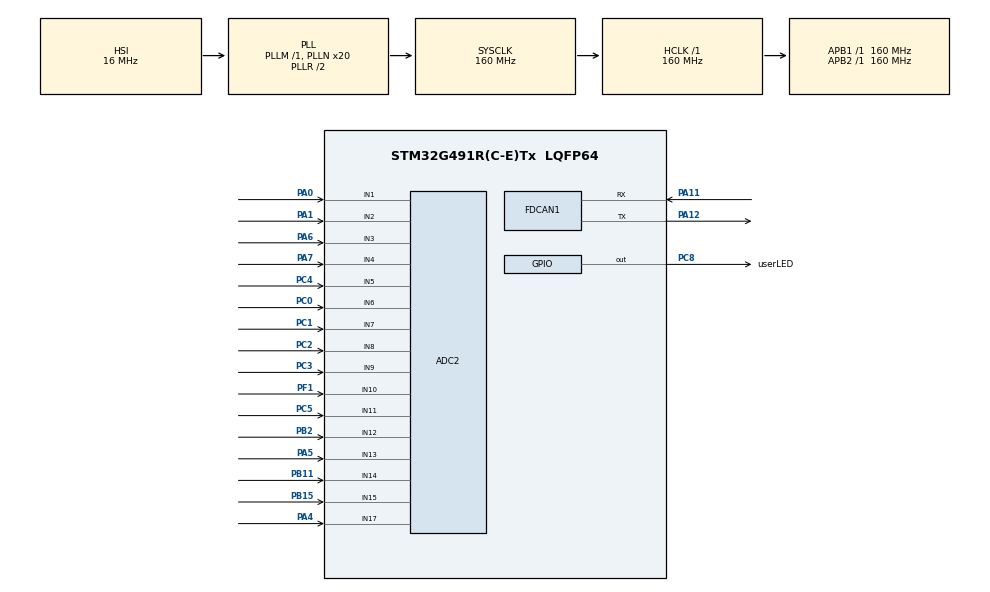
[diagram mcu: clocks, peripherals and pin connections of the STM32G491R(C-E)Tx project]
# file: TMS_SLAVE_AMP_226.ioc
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ADC2.Channel-16\#ChannelRegularConversion=ADC_CHANNEL_1
ADC2.Channel-24\#ChannelRegularConversion=ADC_CHANNEL_2
ADC2.Channel-25\#ChannelRegularConversion=ADC_CHANNEL_3
ADC2.Channel-31\#ChannelRegularConversion=ADC_CHANNEL_4
ADC2.Channel-32\#ChannelRegularConversion=ADC_CHANNEL_5
ADC2.Channel-33\#ChannelRegularConversion=ADC_CHANNEL_6
ADC2.Channel-34\#ChannelRegularConversion=ADC_CHANNEL_7
ADC2.Channel-35\#ChannelRegularConversion=ADC_CHANNEL_8
ADC2.Channel-36\#ChannelRegularConversion=ADC_CHANNEL_9
ADC2.Channel-37\#ChannelRegularConversion=ADC_CHANNEL_10
ADC2.Channel-38\#ChannelRegularConversion=ADC_CHANNEL_11
ADC2.Channel-39\#ChannelRegularConversion=ADC_CHANNEL_12
ADC2.Channel-40\#ChannelRegularConversion=ADC_CHANNEL_13
ADC2.Channel-41\#ChannelRegularConversion=ADC_CHANNEL_14
ADC2.Channel-42\#ChannelRegularConversion=ADC_CHANNEL_15
ADC2.Channel-43\#ChannelRegularConversion=ADC_CHANNEL_17
ADC2.ClockPrescaler=ADC_CLOCK_ASYNC_DIV8
ADC2.ContinuousConvMode=ENABLE
ADC2.DMAContinuousRequests=ENABLE
ADC2.NbrOfConversion=16
ADC2.NbrOfConversionFlag=1
ADC2.OffsetNumber-16\#ChannelRegularConversion=ADC_OFFSET_NONE
ADC2.OffsetNumber-24\#ChannelRegularConversion=ADC_OFFSET_NONE
ADC2.OffsetNumber-25\#ChannelRegularConversion=ADC_OFFSET_NONE
ADC2.OffsetNumber-31\#ChannelRegularConversion=ADC_OFFSET_NONE
ADC2.OffsetNumber-32\#ChannelRegularConversion=ADC_OFFSET_NONE
ADC2.OffsetNumber-33\#ChannelRegularConversion=ADC_OFFSET_NONE
ADC2.OffsetNumber-34\#ChannelRegularConversion=ADC_OFFSET_NONE
ADC2.OffsetNumber-35\#ChannelRegularConversion=ADC_OFFSET_NONE
ADC2.OffsetNumber-36\#ChannelRegularConversion=ADC_OFFSET_NONE
ADC2.OffsetNumber-37\#ChannelRegularConversion=ADC_OFFSET_NONE
ADC2.OffsetNumber-38\#ChannelRegularConversion=ADC_OFFSET_NONE
ADC2.OffsetNumber-39\#ChannelRegularConversion=ADC_OFFSET_NONE
ADC2.OffsetNumber-40\#ChannelRegularConversion=ADC_OFFSET_NONE
ADC2.OffsetNumber-41\#ChannelRegularConversion=ADC_OFFSET_NONE
ADC2.OffsetNumber-42\#ChannelRegularConversion=ADC_OFFSET_NONE
ADC2.OffsetNumber-43\#ChannelRegularConversion=ADC_OFFSET_NONE
ADC2.Overrun=ADC_OVR_DATA_OVERWRITTEN
ADC2.Rank-16\#ChannelRegularConversion=1
ADC2.Rank-24\#ChannelRegularConversion=2
ADC2.Rank-25\#ChannelRegularConversion=3
ADC2.Rank-31\#ChannelRegularConversion=4
ADC2.Rank-32\#ChannelRegularConversion=5
ADC2.Rank-33\#ChannelRegularConversion=6
ADC2.Rank-34\#ChannelRegularConversion=7
ADC2.Rank-35\#ChannelRegularConversion=8
ADC2.Rank-36\#ChannelRegularConversion=9
ADC2.Rank-37\#ChannelRegularConversion=10
ADC2.Rank-38\#ChannelRegularConversion=11
ADC2.Rank-39\#ChannelRegularConversion=12
ADC2.Rank-40\#ChannelRegularConversion=13
ADC2.Rank-41\#ChannelRegularConversion=14
ADC2.Rank-42\#ChannelRegularConversion=15
ADC2.Rank-43\#ChannelRegularConversion=16
ADC2.SamplingTime-16\#ChannelRegularConversion=ADC_SAMPLETIME_247CYCLES_5
ADC2.SamplingTime-24\#ChannelRegularConversion=ADC_SAMPLETIME_247CYCLES_5
ADC2.SamplingTime-25\#ChannelRegularConversion=ADC_SAMPLETIME_247CYCLES_5
ADC2.SamplingTime-31\#ChannelRegularConversion=ADC_SAMPLETIME_247CYCLES_5
ADC2.SamplingTime-32\#ChannelRegularConversion=ADC_SAMPLETIME_247CYCLES_5
ADC2.SamplingTime-33\#ChannelRegularConversion=ADC_SAMPLETIME_247CYCLES_5
ADC2.SamplingTime-34\#ChannelRegularConversion=ADC_SAMPLETIME_247CYCLES_5
ADC2.SamplingTime-35\#ChannelRegularConversion=ADC_SAMPLETIME_247CYCLES_5
ADC2.SamplingTime-36\#ChannelRegularConversion=ADC_SAMPLETIME_247CYCLES_5
ADC2.SamplingTime-37\#ChannelRegularConversion=ADC_SAMPLETIME_247CYCLES_5
ADC2.SamplingTime-38\#ChannelRegularConversion=ADC_SAMPLETIME_247CYCLES_5
ADC2.SamplingTime-39\#ChannelRegularConversion=ADC_SAMPLETIME_247CYCLES_5
ADC2.SamplingTime-40\#ChannelRegularConversion=ADC_SAMPLETIME_247CYCLES_5
ADC2.SamplingTime-41\#ChannelRegularConversion=ADC_SAMPLETIME_247CYCLES_5
ADC2.SamplingTime-42\#ChannelRegularConversion=ADC_SAMPLETIME_247CYCLES_5
ADC2.SamplingTime-43\#ChannelRegularConversion=ADC_SAMPLETIME_247CYCLES_5
Dma.ADC2.0.Direction=DMA_PERIPH_TO_MEMORY
Dma.ADC2.0.EventEnable=DISABLE
Dma.ADC2.0.Instance=DMA1_Channel1
Dma.ADC2.0.MemDataAlignment=DMA_MDATAALIGN_HALFWORD
Dma.ADC2.0.MemInc=DMA_MINC_ENABLE
Dma.ADC2.0.Mode=DMA_CIRCULAR
Dma.ADC2.0.PeriphDataAlignment=DMA_PDATAALIGN_HALFWORD
Dma.ADC2.0.PeriphInc=DMA_PINC_DISABLE
Dma.ADC2.0.Polarity=HAL_DMAMUX_REQ_GEN_RISING
Dma.ADC2.0.Priority=DMA_PRIORITY_LOW
Dma.ADC2.0.RequestNumber=1
Dma.ADC2.0.SignalID=NONE
Dma.ADC2.0.SyncEnable=DISABLE
Dma.ADC2.0.SyncPolarity=HAL_DMAMUX_SYNC_NO_EVENT
Dma.ADC2.0.SyncRequestNumber=1
Dma.ADC2.0.SyncSignalID=NONE
Dma.Request0=ADC2
FDCAN1.CalculateBaudRateNominal=470588
FDCAN1.CalculateTimeBitNominal=2125
FDCAN1.CalculateTimeQuantumNominal=62.5
FDCAN1.NominalPrescaler=10
FDCAN1.NominalTimeSeg1=22
FDCAN1.NominalTimeSeg2=11
FREERTOS.Tasks01=xReadTemp,24,128,xReadTempFunction,Default,NULL,Dynamic,NULL,NULL;xSendCAN,32,128,xSendCANFunction,Default,NULL,Dynamic,NULL,NULL
Mcu.Family=STM32G4
Mcu.Name=STM32G491R(C-E)Tx
Mcu.Package=LQFP64
NVIC.DMA1_Channel1_IRQn=true\:5\:0\:false\:false\:true\:true\:false\:true\:true
NVIC.PriorityGroup=NVIC_PRIORITYGROUP_4
NVIC.TIM20_UP_IRQn=true\:15\:0\:false\:false\:true\:false\:false\:true\:true
NVIC.TimeBase=TIM20_UP_IRQn
NVIC.TimeBaseIP=TIM20
PA0.Mode=IN1-Single-Ended
PA0.Signal=ADC2_IN1
PA1.Mode=IN2-Single-Ended
PA1.Signal=ADC2_IN2
PA11.Mode=FDCAN_Activate
PA11.Signal=FDCAN1_RX
PA12.Mode=FDCAN_Activate
PA12.Signal=FDCAN1_TX
PA13.GPIO_Label=T_SWDIO
PA13.Mode=Serial_Wire
PA13.Signal=SYS_JTMS-SWDIO
PA14.GPIO_Label=T_SWCLK
PA14.Mode=Serial_Wire
PA14.Signal=SYS_JTCK-SWCLK
PA4.Mode=IN17-Single-Ended
PA4.Signal=ADC2_IN17
PA5.Mode=IN13-Single-Ended
PA5.Signal=ADC2_IN13
PA6.Mode=IN3-Single-Ended
PA6.Signal=ADC2_IN3
PA7.Mode=IN4-Single-Ended
PA7.Signal=ADC2_IN4
PB11.Mode=IN14-Single-Ended
PB11.Signal=ADC2_IN14
PB15.Mode=IN15-Single-Ended
PB15.Signal=ADC2_IN15
PB2.Mode=IN12-Single-Ended
PB2.Signal=ADC2_IN12
PC0.Mode=IN6-Single-Ended
PC0.Signal=ADC2_IN6
PC1.Mode=IN7-Single-Ended
PC1.Signal=ADC2_IN7
PC2.Mode=IN8-Single-Ended
PC2.Signal=ADC2_IN8
PC3.Mode=IN9-Single-Ended
PC3.Signal=ADC2_IN9
PC4.Mode=IN5-Single-Ended
PC4.Signal=ADC2_IN5
PC5.Mode=IN11-Single-Ended
PC5.Signal=ADC2_IN11
PC8.GPIO_Label=userLED
PC8.Signal=GPIO_Output
PF1-OSC_OUT.Mode=IN10-Single-Ended
PF1-OSC_OUT.Signal=ADC2_IN10
ProjectManager.HeapSize=0x200
ProjectManager.StackSize=0x400
ProjectManager.TargetToolchain=STM32CubeIDE
RCC.ADC12Freq_Value=160000000
RCC.ADC345Freq_Value=160000000
RCC.AHBFreq_Value=160000000
RCC.APB1Freq_Value=160000000
RCC.APB1TimFreq_Value=160000000
RCC.APB2Freq_Value=160000000
RCC.APB2TimFreq_Value=160000000
RCC.CortexFreq_Value=160000000
RCC.EXTERNAL_CLOCK_VALUE=12288000
RCC.HCLKFreq_Value=160000000
RCC.HSE_VALUE=24000000
RCC.HSI48_VALUE=48000000
RCC.HSI_VALUE=16000000
RCC.LSE_VALUE=32768
RCC.PLLN=20
RCC.RTCClockSelection=RCC_RTCCLKSOURCE_LSE
RCC.SYSCLKFreq_VALUE=160000000
RCC.SYSCLKSource=RCC_SYSCLKSOURCE_PLLCLK
RCC.USBFreq_Value=48000000
RCC.VCOOutputFreq_Value=320000000
VP_FREERTOS_VS_CMSIS_V2.Mode=CMSIS_V2
VP_SYS_VS_DBSignals.Mode=DisableDeadBatterySignals
VP_SYS_VS_tim20.Mode=TIM20
VREF+.Signal=VREFBUF_OUT
board=NUCLEO-G491RE

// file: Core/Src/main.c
/* USER CODE BEGIN Header */
/**
  ******************************************************************************
  * @file           : main.c
  * @brief          : Main program body
  ******************************************************************************
  * @attention
  *
  * Copyright (c) 2025 STMicroelectronics.
  * All rights reserved.
  *
  * This software is licensed under terms that can be found in the LICENSE file
  * in the root directory of this software component.
  * If no LICENSE file comes with this software, it is provided AS-IS.
  *
  ******************************************************************************
  */
/* USER CODE END Header */
#include "main.h"
#include "cmsis_os.h"

/* USER CODE BEGIN Includes */
#include "adc.h"
#include "can.h"
#include <stdbool.h>
/* USER CODE END Includes */

ADC_HandleTypeDef hadc2;
DMA_HandleTypeDef hdma_adc2;

FDCAN_HandleTypeDef hfdcan1;

/* Definitions for xReadTemp */
osThreadId_t xReadTempHandle;
const osThreadAttr_t xReadTemp_attributes = {
  .name = "xReadTemp",
  .priority = (osPriority_t) osPriorityNormal,
  .stack_size = 128 * 4
};
/* Definitions for xSendCAN */
osThreadId_t xSendCANHandle;
const osThreadAttr_t xSendCAN_attributes = {
  .name = "xSendCAN",
  .priority = (osPriority_t) osPriorityAboveNormal,
  .stack_size = 128 * 4
};
/* USER CODE BEGIN PV */
uint16_t rawAdcBuffer[numberOfThermistors];
float tempBuffer[numberOfThermistors], voltageBuffer[numberOfThermistors];
extern uint16_t filteredAdcBuffer[numberOfThermistors];

extern uint8_t FDCAN1TxData[8];
extern FDCAN_TxHeaderTypeDef FDCAN1TxHeader;

int thermistorFault = 0;
thermStatus readStatus = 0;
uint16_t medianADC = 0;
/* USER CODE END PV */

void SystemClock_Config(void);
static void MX_GPIO_Init(void);
static void MX_DMA_Init(void);
static void MX_FDCAN1_Init(void);
static void MX_ADC2_Init(void);
void xReadTempFunction(void *argument);
void xSendCANFunction(void *argument);

/* USER CODE BEGIN PFP */
//void HAL_ADC_ConvCpltCallback(ADC_HandleTypeDef *hadc);
/* USER CODE END PFP */

int main(void)
{

  /* MCU Configuration--------------------------------------------------------*/

  /* Reset of all peripherals, Initializes the Flash interface and the Systick. */
  HAL_Init();

  /* Configure the system clock */
  SystemClock_Config();

  /* Initialize all configured peripherals */
  MX_GPIO_Init();
  MX_DMA_Init();
  MX_FDCAN1_Init();
  MX_ADC2_Init();

  /* Init scheduler */
  osKernelInitialize();

  /* Create the thread(s) */
  /* creation of xReadTemp */
  xReadTempHandle = osThreadNew(xReadTempFunction, NULL, &xReadTemp_attributes);

  /* creation of xSendCAN */
  xSendCANHandle = osThreadNew(xSendCANFunction, NULL, &xSendCAN_attributes);

  /* USER CODE BEGIN RTOS_THREADS */
  /* add threads, ... */
  HAL_ADCEx_Calibration_Start(&hadc2, ADC_SINGLE_ENDED);
  HAL_ADC_Start_DMA(&hadc2, (uint32_t*)rawAdcBuffer, numberOfThermistors);
  /* USER CODE END RTOS_THREADS */

  /* Start scheduler */
  osKernelStart();

  /* We should never get here as control is now taken by the scheduler */

  /* Infinite loop */
  while (1)
  {

  }
}

void SystemClock_Config(void)
{
  RCC_OscInitTypeDef RCC_OscInitStruct = {0};
  RCC_ClkInitTypeDef RCC_ClkInitStruct = {0};

  /** Configure the main internal regulator output voltage
  */
  HAL_PWREx_ControlVoltageScaling(PWR_REGULATOR_VOLTAGE_SCALE1_BOOST);

  /** Initializes the RCC Oscillators according to the specified parameters
  * in the RCC_OscInitTypeDef structure.
  */
  RCC_OscInitStruct.OscillatorType = RCC_OSCILLATORTYPE_HSI;
  RCC_OscInitStruct.HSIState = RCC_HSI_ON;
  RCC_OscInitStruct.HSICalibrationValue = RCC_HSICALIBRATION_DEFAULT;
  RCC_OscInitStruct.PLL.PLLState = RCC_PLL_ON;
  RCC_OscInitStruct.PLL.PLLSource = RCC_PLLSOURCE_HSI;
  RCC_OscInitStruct.PLL.PLLM = RCC_PLLM_DIV1;
  RCC_OscInitStruct.PLL.PLLN = 20;
  RCC_OscInitStruct.PLL.PLLP = RCC_PLLP_DIV2;
  RCC_OscInitStruct.PLL.PLLQ = RCC_PLLQ_DIV2;
  RCC_OscInitStruct.PLL.PLLR = RCC_PLLR_DIV2;
  if (HAL_RCC_OscConfig(&RCC_OscInitStruct) != HAL_OK)
  {
    Error_Handler();
  }

  /** Initializes the CPU, AHB and APB buses clocks
  */
  RCC_ClkInitStruct.ClockType = RCC_CLOCKTYPE_HCLK|RCC_CLOCKTYPE_SYSCLK
                              |RCC_CLOCKTYPE_PCLK1|RCC_CLOCKTYPE_PCLK2;
  RCC_ClkInitStruct.SYSCLKSource = RCC_SYSCLKSOURCE_PLLCLK;
  RCC_ClkInitStruct.AHBCLKDivider = RCC_SYSCLK_DIV1;
  RCC_ClkInitStruct.APB1CLKDivider = RCC_HCLK_DIV1;
  RCC_ClkInitStruct.APB2CLKDivider = RCC_HCLK_DIV1;

  if (HAL_RCC_ClockConfig(&RCC_ClkInitStruct, FLASH_LATENCY_4) != HAL_OK)
  {
    Error_Handler();
  }
}

static void MX_ADC2_Init(void)
{

  ADC_ChannelConfTypeDef sConfig = {0};

  /** Common config
  */
  hadc2.Instance = ADC2;
  hadc2.Init.ClockPrescaler = ADC_CLOCK_ASYNC_DIV8;
  hadc2.Init.Resolution = ADC_RESOLUTION_12B;
  hadc2.Init.DataAlign = ADC_DATAALIGN_RIGHT;
  hadc2.Init.GainCompensation = 0;
  hadc2.Init.ScanConvMode = ADC_SCAN_ENABLE;
  hadc2.Init.EOCSelection = ADC_EOC_SINGLE_CONV;
  hadc2.Init.LowPowerAutoWait = DISABLE;
  hadc2.Init.ContinuousConvMode = ENABLE;
  hadc2.Init.NbrOfConversion = 16;
  hadc2.Init.DiscontinuousConvMode = DISABLE;
  hadc2.Init.ExternalTrigConv = ADC_SOFTWARE_START;
  hadc2.Init.ExternalTrigConvEdge = ADC_EXTERNALTRIGCONVEDGE_NONE;
  hadc2.Init.DMAContinuousRequests = ENABLE;
  hadc2.Init.Overrun = ADC_OVR_DATA_OVERWRITTEN;
  hadc2.Init.OversamplingMode = DISABLE;
  if (HAL_ADC_Init(&hadc2) != HAL_OK)
  {
    Error_Handler();
  }

  /** Configure Regular Channel
  */
  sConfig.Channel = ADC_CHANNEL_1;
  sConfig.Rank = ADC_REGULAR_RANK_1;
  sConfig.SamplingTime = ADC_SAMPLETIME_247CYCLES_5;
  sConfig.SingleDiff = ADC_SINGLE_ENDED;
  sConfig.OffsetNumber = ADC_OFFSET_NONE;
  sConfig.Offset = 0;
  if (HAL_ADC_ConfigChannel(&hadc2, &sConfig) != HAL_OK)
  {
    Error_Handler();
  }

  /** Configure Regular Channel
  */
  sConfig.Channel = ADC_CHANNEL_2;
  sConfig.Rank = ADC_REGULAR_RANK_2;
  if (HAL_ADC_ConfigChannel(&hadc2, &sConfig) != HAL_OK)
  {
    Error_Handler();
  }

  /** Configure Regular Channel
  */
  sConfig.Channel = ADC_CHANNEL_3;
  sConfig.Rank = ADC_REGULAR_RANK_3;
  if (HAL_ADC_ConfigChannel(&hadc2, &sConfig) != HAL_OK)
  {
    Error_Handler();
  }

  /** Configure Regular Channel
  */
  sConfig.Channel = ADC_CHANNEL_4;
  sConfig.Rank = ADC_REGULAR_RANK_4;
  if (HAL_ADC_ConfigChannel(&hadc2, &sConfig) != HAL_OK)
  {
    Error_Handler();
  }

  /** Configure Regular Channel
  */
  sConfig.Channel = ADC_CHANNEL_5;
  sConfig.Rank = ADC_REGULAR_RANK_5;
  if (HAL_ADC_ConfigChannel(&hadc2, &sConfig) != HAL_OK)
  {
    Error_Handler();
  }

  /** Configure Regular Channel
  */
  sConfig.Channel = ADC_CHANNEL_6;
  sConfig.Rank = ADC_REGULAR_RANK_6;
  if (HAL_ADC_ConfigChannel(&hadc2, &sConfig) != HAL_OK)
  {
    Error_Handler();
  }

  /** Configure Regular Channel
  */
  sConfig.Channel = ADC_CHANNEL_7;
  sConfig.Rank = ADC_REGULAR_RANK_7;
  if (HAL_ADC_ConfigChannel(&hadc2, &sConfig) != HAL_OK)
  {
    Error_Handler();
  }

  /** Configure Regular Channel
  */
  sConfig.Channel = ADC_CHANNEL_8;
  sConfig.Rank = ADC_REGULAR_RANK_8;
  if (HAL_ADC_ConfigChannel(&hadc2, &sConfig) != HAL_OK)
  {
    Error_Handler();
  }

  /** Configure Regular Channel
  */
  sConfig.Channel = ADC_CHANNEL_9;
  sConfig.Rank = ADC_REGULAR_RANK_9;
  if (HAL_ADC_ConfigChannel(&hadc2, &sConfig) != HAL_OK)
  {
    Error_Handler();
  }

  /** Configure Regular Channel
  */
  sConfig.Channel = ADC_CHANNEL_10;
  sConfig.Rank = ADC_REGULAR_RANK_10;
  if (HAL_ADC_ConfigChannel(&hadc2, &sConfig) != HAL_OK)
  {
    Error_Handler();
  }

  /** Configure Regular Channel
  */
  sConfig.Channel = ADC_CHANNEL_11;
  sConfig.Rank = ADC_REGULAR_RANK_11;
  if (HAL_ADC_ConfigChannel(&hadc2, &sConfig) != HAL_OK)
  {
    Error_Handler();
  }

  /** Configure Regular Channel
  */
  sConfig.Channel = ADC_CHANNEL_12;
  sConfig.Rank = ADC_REGULAR_RANK_12;
  if (HAL_ADC_ConfigChannel(&hadc2, &sConfig) != HAL_OK)
  {
    Error_Handler();
  }

  /** Configure Regular Channel
  */
  sConfig.Channel = ADC_CHANNEL_13;
  sConfig.Rank = ADC_REGULAR_RANK_13;
  if (HAL_ADC_ConfigChannel(&hadc2, &sConfig) != HAL_OK)
  {
    Error_Handler();
  }

  /** Configure Regular Channel
  */
  sConfig.Channel = ADC_CHANNEL_14;
  sConfig.Rank = ADC_REGULAR_RANK_14;
  if (HAL_ADC_ConfigChannel(&hadc2, &sConfig) != HAL_OK)
  {
    Error_Handler();
  }

  /** Configure Regular Channel
  */
  sConfig.Channel = ADC_CHANNEL_15;
  sConfig.Rank = ADC_REGULAR_RANK_15;
  if (HAL_ADC_ConfigChannel(&hadc2, &sConfig) != HAL_OK)
  {
    Error_Handler();
  }

  /** Configure Regular Channel
  */
  sConfig.Channel = ADC_CHANNEL_17;
  sConfig.Rank = ADC_REGULAR_RANK_16;
  if (HAL_ADC_ConfigChannel(&hadc2, &sConfig) != HAL_OK)
  {
    Error_Handler();
  }

}

static void MX_FDCAN1_Init(void)
{

  hfdcan1.Instance = FDCAN1;
  hfdcan1.Init.ClockDivider = FDCAN_CLOCK_DIV1;
  hfdcan1.Init.FrameFormat = FDCAN_FRAME_CLASSIC;
  hfdcan1.Init.Mode = FDCAN_MODE_NORMAL;
  hfdcan1.Init.AutoRetransmission = DISABLE;
  hfdcan1.Init.TransmitPause = DISABLE;
  hfdcan1.Init.ProtocolException = DISABLE;
  hfdcan1.Init.NominalPrescaler = 10;
  hfdcan1.Init.NominalSyncJumpWidth = 1;
  hfdcan1.Init.NominalTimeSeg1 = 22;
  hfdcan1.Init.NominalTimeSeg2 = 11;
  hfdcan1.Init.DataPrescaler = 1;
  hfdcan1.Init.DataSyncJumpWidth = 1;
  hfdcan1.Init.DataTimeSeg1 = 1;
  hfdcan1.Init.DataTimeSeg2 = 1;
  hfdcan1.Init.StdFiltersNbr = 0;
  hfdcan1.Init.ExtFiltersNbr = 0;
  hfdcan1.Init.TxFifoQueueMode = FDCAN_TX_FIFO_OPERATION;
  if (HAL_FDCAN_Init(&hfdcan1) != HAL_OK)
  {
    Error_Handler();
  }
  /* USER CODE BEGIN FDCAN1_Init 2 */
  HAL_FDCAN_ActivateNotification(&hfdcan1, FDCAN_IT_RX_FIFO0_NEW_MESSAGE, 0);
  HAL_FDCAN_Start(&hfdcan1);

  FDCAN1TxHeader.FDFormat = FDCAN_CLASSIC_CAN;
  FDCAN1TxHeader.IdType = FDCAN_STANDARD_ID;
  FDCAN1TxHeader.BitRateSwitch = FDCAN_BRS_OFF;
  /* USER CODE END FDCAN1_Init 2 */

}

static void MX_DMA_Init(void)
{

  /* DMA controller clock enable */
  __HAL_RCC_DMAMUX1_CLK_ENABLE();
  __HAL_RCC_DMA1_CLK_ENABLE();

  /* DMA interrupt init */
  /* DMA1_Channel1_IRQn interrupt configuration */
  HAL_NVIC_SetPriority(DMA1_Channel1_IRQn, 5, 0);
  HAL_NVIC_EnableIRQ(DMA1_Channel1_IRQn);

}

static void MX_GPIO_Init(void)
{
  GPIO_InitTypeDef GPIO_InitStruct = {0};

  /* GPIO Ports Clock Enable */
  __HAL_RCC_GPIOF_CLK_ENABLE();
  __HAL_RCC_GPIOC_CLK_ENABLE();
  __HAL_RCC_GPIOA_CLK_ENABLE();
  __HAL_RCC_GPIOB_CLK_ENABLE();

  /*Configure GPIO pin Output Level */
  HAL_GPIO_WritePin(userLED_GPIO_Port, userLED_Pin, GPIO_PIN_RESET);

  /*Configure GPIO pin : userLED_Pin */
  GPIO_InitStruct.Pin = userLED_Pin;
  GPIO_InitStruct.Mode = GPIO_MODE_OUTPUT_PP;
  GPIO_InitStruct.Pull = GPIO_NOPULL;
  GPIO_InitStruct.Speed = GPIO_SPEED_FREQ_LOW;
  HAL_GPIO_Init(userLED_GPIO_Port, &GPIO_InitStruct);

}

void xReadTempFunction(void *argument)
{
  /* USER CODE BEGIN 5 */
//	static bool filtersInitialized = false;
	 xReadTempHandle = xTaskGetCurrentTaskHandle();
  /* Infinite loop */
  for(;;)
  {
//	  if(!filtersInitialized)
//	  {
		  initTemperatureFilters(rawAdcBuffer);
//		  filtersInitialized = true;
//	  }

	  for(int i = 0; i < numberOfThermistors; i++){

		  medianADC = applyMedianFilter(rawAdcBuffer[i], i);
		  filteredAdcBuffer[i] = applyIIRFilter(medianADC, i);
//		  readStatus = checkThermistorConnection(filteredAdcBuffer[i]);

//		  if(readStatus == OK){
			  tempBuffer[i] = convertVoltageToTemperature(convertBitsToVoltage(filteredAdcBuffer[i]));

//		  }
//		  else{
//			  thermistorFault = 1;
//			  sendReadingErrorInfoIntoCAN();
//			  Error_Handler();
//		  }
	  }
	  osDelay(1);
  }
  /* USER CODE END 5 */
}

void xSendCANFunction(void *argument)
{
  /* USER CODE BEGIN xSendCANFunction */
  /* Infinite loop */
  for(;;)
  {
#ifdef slave1
//	  sendTemperatureToMaster(tempBuffer, idSlave1Burst0);
#endif
#ifdef slave2
	  sendTemperatureToMaster(tempBuffer, idSlave2Burst0);
#endif
#ifdef slave3
	  sendTemperatureToMaster(tempBuffer, idSlave3Burst0);
#endif
#ifdef slave4
	  sendTemperatureToMaster(tempBuffer, idSlave4Burst0);
#endif
	  HAL_GPIO_TogglePin(GPIOC, GPIO_PIN_8);

    osDelay(100);
  }
  /* USER CODE END xSendCANFunction */
}

void HAL_TIM_PeriodElapsedCallback(TIM_HandleTypeDef *htim)
{
  if (htim->Instance == TIM20)
  {
    HAL_IncTick();
  }
}

void Error_Handler(void)
{
  /* USER CODE BEGIN Error_Handler_Debug */
	HAL_GPIO_WritePin(GPIOC, GPIO_PIN_7, SET);
  /* User can add his own implementation to report the HAL error return state */
  __disable_irq();
  while (1)
  {
  }
  /* USER CODE END Error_Handler_Debug */
}
